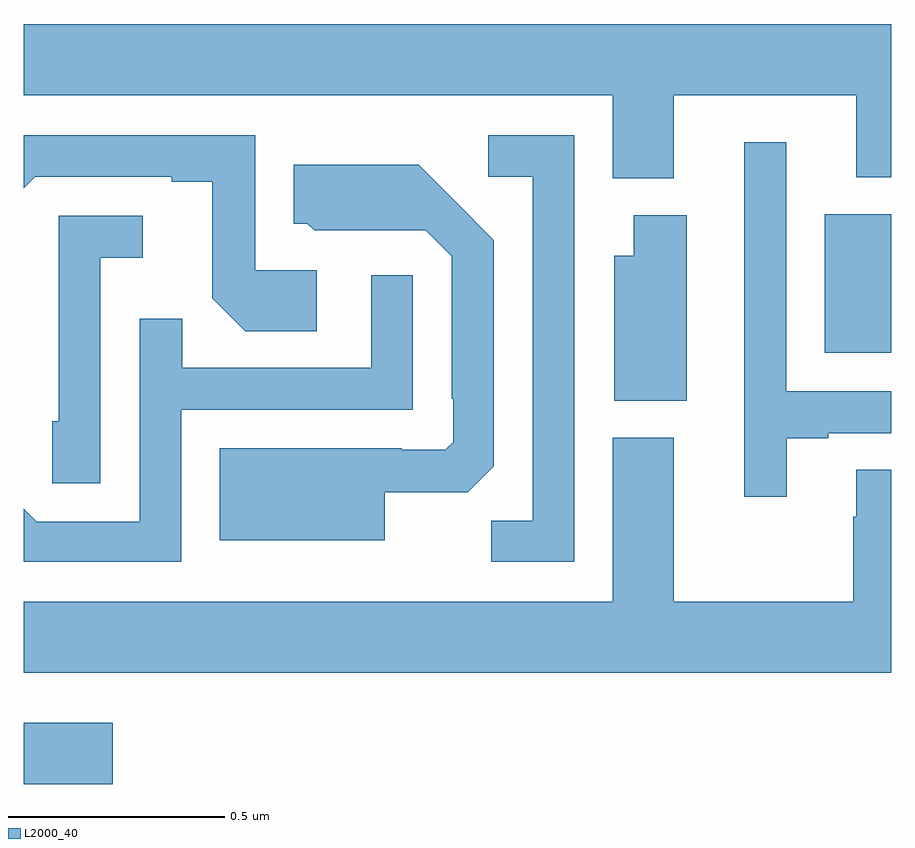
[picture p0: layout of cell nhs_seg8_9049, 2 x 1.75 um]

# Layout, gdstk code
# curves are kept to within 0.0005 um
import gdstk
lib = gdstk.Library(unit=1e-6, precision=1e-09)
def R(c, l, rs):  # rectangles x0, y0, x1, y1
    for r in rs: c.add(gdstk.rectangle(r[:2], r[2:], *l))
def P(c, l, *ps):  # polygons
    for p in ps: c.add(gdstk.Polygon(p, *l))
L2000_40 = (2000, 40)

nhs_seg8_9049 = lib.new_cell('nhs_seg8_9049')
R(nhs_seg8_9049, L2000_40, [(231,1126.9,231.205,1127.041), (232.847,1127.894,233,1128.214)])
P(nhs_seg8_9049, L2000_40, [(232.498,1128.488),(232.919,1128.488),(232.919,1128.299),(233,1128.299),(233,1128.652),(231,1128.652),(231,1128.488),(232.358,1128.488),(232.358,1128.296),(232.498,1128.296)],
  [(232.269,1128.396),(232.071,1128.396),(232.071,1128.3),(232.173,1128.3),(232.173,1127.507),(232.078,1127.507),(232.078,1127.412),(232.269,1127.412)],
  [(231.676,1128.084),(231.534,1128.084),(231.534,1128.396),(231,1128.396),(231,1128.273),(231.027,1128.3),(231.341,1128.3),(231.341,1128.288),(231.435,1128.288),(231.435,1128.02),(231.511,1127.944),(231.676,1127.944)],
  [(232.759,1127.697),(232.855,1127.697),(232.855,1127.709),(233,1127.709),(233,1127.805),(232.758,1127.805),(232.758,1128.379),(232.661,1128.379),(232.661,1127.562),(232.759,1127.562)],
  [(231.832,1127.573),(232.024,1127.573),(232.083,1127.632),(232.083,1128.154),(231.911,1128.328),(231.623,1128.328),(231.623,1128.192),(231.654,1128.192),(231.67,1128.176),(231.804,1128.176),(231.804,1128.177),(231.927,1128.177),(231.987,1128.117),(231.987,1127.788),(231.99,1127.788),(231.99,1127.688),(231.972,1127.67),(231.872,1127.67),(231.872,1127.674),(231.452,1127.674),(231.452,1127.462),(231.832,1127.462)],
  [(232.528,1128.211),(232.406,1128.211),(232.406,1128.118),(232.361,1128.118),(232.361,1127.783),(232.528,1127.783)],
  [(231.177,1128.113),(231.274,1128.113),(231.274,1128.21),(231.081,1128.21),(231.081,1127.736),(231.066,1127.736),(231.066,1127.593),(231.177,1127.593)],
  [(231.363,1127.763),(231.897,1127.763),(231.897,1128.073),(231.801,1128.073),(231.801,1127.859),(231.365,1127.859),(231.365,1127.972),(231.267,1127.972),(231.267,1127.505),(231.03,1127.505),(231,1127.535),(231,1127.412),(231.363,1127.412)],
  [(233,1127.624),(232.919,1127.624),(232.919,1127.516),(232.912,1127.516),(232.912,1127.32),(232.498,1127.32),(232.498,1127.698),(232.358,1127.698),(232.358,1127.32),(231,1127.32),(231,1127.156),(233,1127.156)])

lib.write_gds('nhs_seg8_9049.gds')
